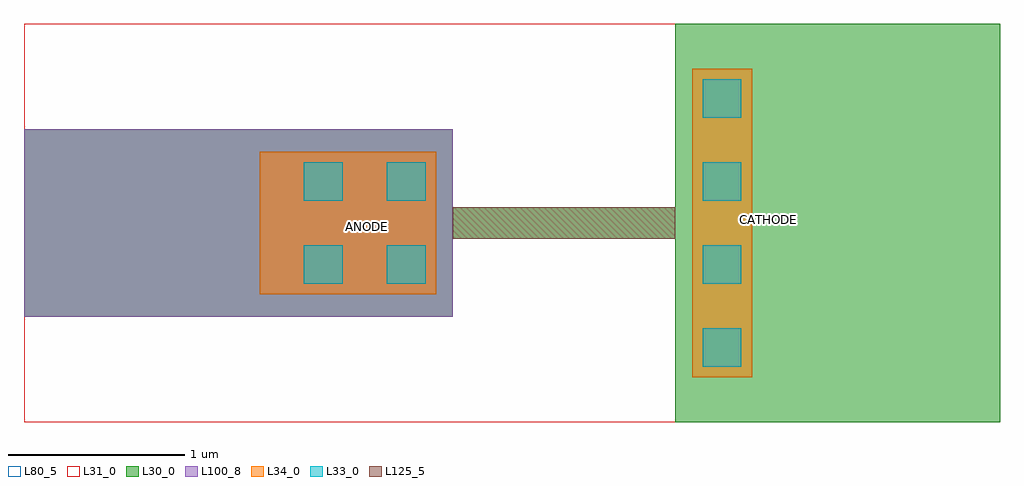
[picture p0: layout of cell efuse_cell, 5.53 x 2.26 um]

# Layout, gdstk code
import gdstk
lib = gdstk.Library(unit=1e-6, precision=1e-09)
def R(c, l, rs):  # rectangles x0, y0, x1, y1
    for r in rs: c.add(gdstk.rectangle(r[:2], r[2:], *l))
def A(c, l, x, y, w, h, nx, ny, dx, dy):  # array of equal rectangles
    R(c, l, [(x+i*dx, y+j*dy, x+i*dx+w, y+j*dy+h) for i in range(nx) for j in range(ny)])
L30_0 = (30, 0)
L31_0 = (31, 0)
L33_0 = (33, 0)
L34_0 = (34, 0)
L80_5 = (80, 5)
L100_8 = (100, 8)
L125_5 = (125, 5)

efuse_cell = lib.new_cell('efuse_cell')
R(efuse_cell, L30_0, [(3.69,0,5.53,2.26), (0,0.6,2.43,1.66), (2.43,1.04,3.69,1.22)])
R(efuse_cell, L31_0, [(0,0,5.53,2.26)])
A(efuse_cell, L33_0, 3.845, 0.315, 0.22, 0.22, 1, 4, 0, 0.47)
R(efuse_cell, L33_0, [(3.845,0.315,4.065,0.535), (1.585,0.785,1.805,1.005), (1.585,0.785,1.805,1.005), (2.055,0.785,2.275,1.005), (1.585,1.255,1.805,1.475), (2.055,1.255,2.275,1.475)])
R(efuse_cell, L34_0, [(3.785,0.255,4.125,2.005), (1.335,0.725,2.335,1.535)])
R(efuse_cell, L80_5, [(0,0,5.53,2.26)])
R(efuse_cell, L100_8, [(0,0.6,2.43,1.66)])
R(efuse_cell, L125_5, [(2.43,1.04,3.69,1.22)])
efuse_cell.add(gdstk.Label('ANODE', (1.949,1.113), layer=34, texttype=10))
efuse_cell.add(gdstk.Label('CATHODE', (4.219,1.147), layer=34, texttype=10))

lib.write_gds('efuse_cell.gds')
